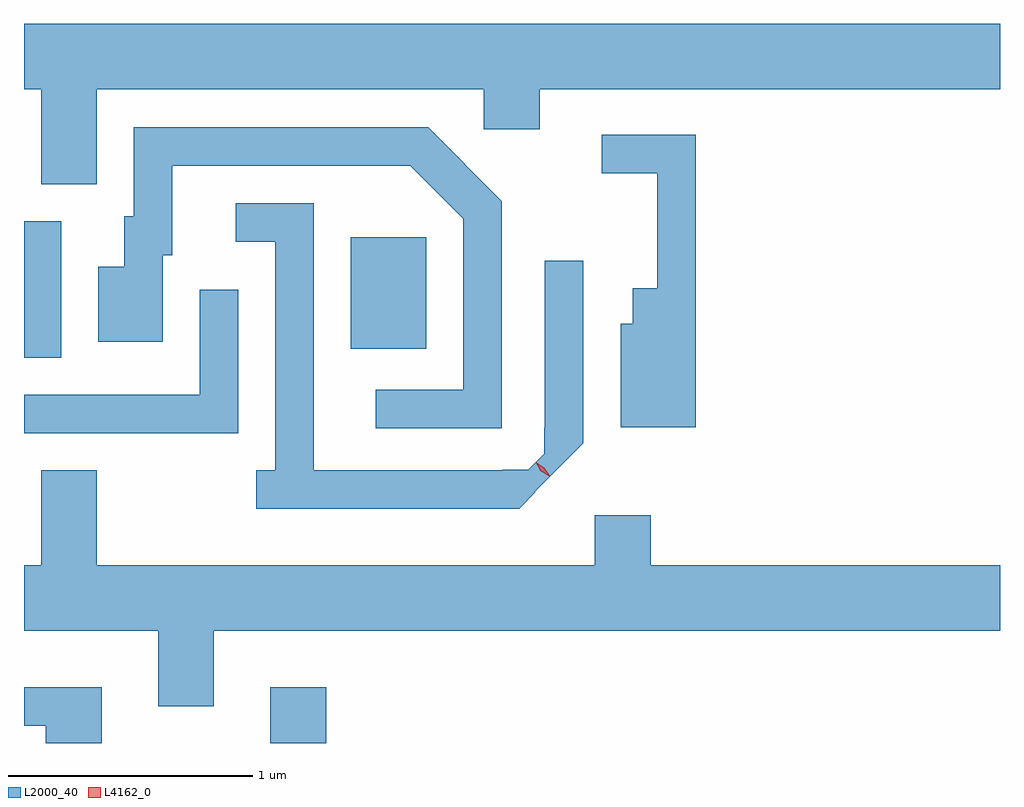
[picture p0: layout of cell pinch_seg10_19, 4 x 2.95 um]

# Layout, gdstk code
import gdstk
lib = gdstk.Library(unit=1e-6, precision=1e-09)
def R(c, l, rs):  # rectangles x0, y0, x1, y1
    for r in rs: c.add(gdstk.rectangle(r[:2], r[2:], *l))
def P(c, l, *ps):  # polygons
    for p in ps: c.add(gdstk.Polygon(p, *l))
L2000_40 = (2000, 40)
L4162_0 = (4162, 0)

pinch_seg10_19 = lib.new_cell('pinch_seg10_19')
R(pinch_seg10_19, L2000_40, [(828.701,2175.615,828.929,2175.844), (827.691,2177.196,827.844,2177.754), (829.031,2177.231,829.339,2177.689)])
P(pinch_seg10_19, L2000_40, [(827.989,2178.296),(829.576,2178.296),(829.576,2178.131),(829.804,2178.131),(829.804,2178.296),(831.691,2178.296),(831.691,2178.564),(827.691,2178.564),(827.691,2178.296),(827.761,2178.296),(827.761,2177.906),(827.989,2177.906)],
  [(829.649,2177.837),(829.347,2178.139),(828.141,2178.139),(828.141,2177.774),(828.101,2177.774),(828.101,2177.569),(827.996,2177.569),(827.996,2177.261),(828.259,2177.261),(828.259,2177.616),(828.299,2177.616),(828.299,2177.981),(829.274,2177.981),(829.491,2177.764),(829.491,2177.064),(829.133,2177.064),(829.133,2176.906),(829.649,2176.906)],
  [(830.444,2178.109),(830.058,2178.109),(830.058,2177.951),(830.286,2177.951),(830.286,2177.479),(830.186,2177.479),(830.186,2177.334),(830.136,2177.334),(830.136,2176.911),(830.444,2176.911)],
  [(829.787,2176.643),(829.785,2176.645),(829.984,2176.844),(829.984,2177.593),(829.826,2177.593),(829.826,2176.909),(829.823,2176.909),(829.823,2176.802),(829.757,2176.736),(829.651,2176.736),(829.651,2176.734),(828.879,2176.734),(828.879,2177.829),(828.558,2177.829),(828.558,2177.671),(828.721,2177.671),(828.721,2176.734),(828.643,2176.734),(828.643,2176.576),(829.72,2176.576)],
  [(828.569,2177.473),(828.411,2177.473),(828.411,2177.044),(827.691,2177.044),(827.691,2176.886),(828.569,2176.886)],
  [(828.469,2176.076),(831.691,2176.076),(831.691,2176.344),(830.259,2176.344),(830.259,2176.549),(830.031,2176.549),(830.031,2176.344),(827.989,2176.344),(827.989,2176.734),(827.761,2176.734),(827.761,2176.344),(827.691,2176.344),(827.691,2176.076),(828.241,2176.076),(828.241,2175.766),(828.469,2175.766)],
  [(828.009,2175.844),(827.691,2175.844),(827.691,2175.686),(827.781,2175.686),(827.781,2175.615),(828.009,2175.615)])
P(pinch_seg10_19, L4162_0, [(829.844,2176.71),(829.809,2176.731),(829.788,2176.766),(829.788,2176.766),(829.788,2176.766),(829.823,2176.745),(829.845,2176.711),(829.845,2176.71)],
  [(829.839,2176.714),(829.809,2176.73),(829.792,2176.76),(829.792,2176.761),(829.792,2176.761),(829.822,2176.745),(829.84,2176.715),(829.84,2176.714)])

lib.write_gds('pinch_seg10_19.gds')
